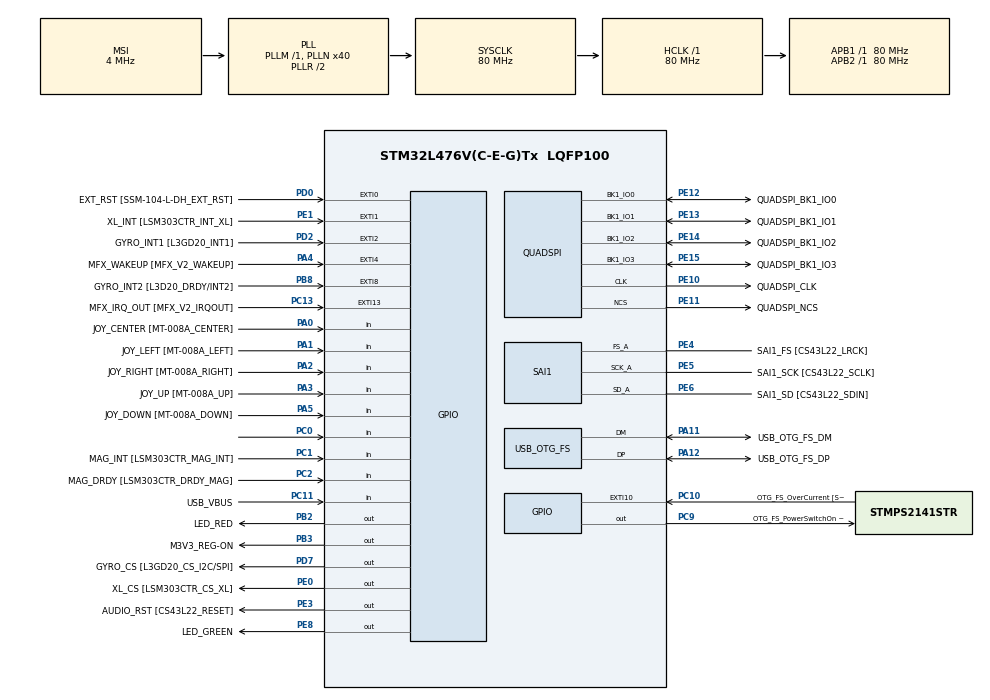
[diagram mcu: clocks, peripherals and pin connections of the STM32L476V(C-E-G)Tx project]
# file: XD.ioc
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Dma.Request0=SAI1_A
Dma.SAI1_A.0.Direction=DMA_MEMORY_TO_PERIPH
Dma.SAI1_A.0.Instance=DMA2_Channel1
Dma.SAI1_A.0.MemDataAlignment=DMA_MDATAALIGN_HALFWORD
Dma.SAI1_A.0.MemInc=DMA_MINC_ENABLE
Dma.SAI1_A.0.Mode=DMA_CIRCULAR
Dma.SAI1_A.0.PeriphDataAlignment=DMA_PDATAALIGN_HALFWORD
Dma.SAI1_A.0.PeriphInc=DMA_PINC_DISABLE
Dma.SAI1_A.0.Priority=DMA_PRIORITY_HIGH
Mcu.Family=STM32L4
Mcu.Name=STM32L476V(C-E-G)Tx
Mcu.Package=LQFP100
NVIC.DMA2_Channel1_IRQn=true\:0\:0\:false\:false\:true\:false\:true\:true
NVIC.OTG_FS_IRQn=true\:0\:0\:false\:false\:true\:false\:true\:true
NVIC.PriorityGroup=NVIC_PRIORITYGROUP_4
PA0.GPIO_Label=JOY_CENTER [MT-008A_CENTER]
PA0.GPIO_Mode=GPIO_MODE_INPUT
PA0.GPIO_PuPd=GPIO_PULLDOWN
PA0.Signal=GPIO_Input
PA1.GPIO_Label=JOY_LEFT [MT-008A_LEFT]
PA1.GPIO_Mode=GPIO_MODE_INPUT
PA1.GPIO_PuPd=GPIO_PULLDOWN
PA1.Signal=GPIO_Input
PA10.GPIO_Label=COM2 [GH08172T_COM2]
PA10.GPIO_Mode=GPIO_MODE_AF_PP
PA10.GPIO_PuPd=GPIO_NOPULL
PA10.GPIO_Speed=GPIO_SPEED_FREQ_LOW
PA10.Signal=LCD_COM2
PA11.GPIO_Label=USB_OTG_FS_DM
PA11.GPIO_Mode=GPIO_MODE_AF_PP
PA11.GPIO_PuPd=GPIO_NOPULL
PA11.GPIO_Speed=GPIO_SPEED_FREQ_VERY_HIGH
PA11.Mode=Device_Only
PA11.Signal=USB_OTG_FS_DM
PA12.GPIO_Label=USB_OTG_FS_DP
PA12.GPIO_Mode=GPIO_MODE_AF_PP
PA12.GPIO_PuPd=GPIO_NOPULL
PA12.GPIO_Speed=GPIO_SPEED_FREQ_VERY_HIGH
PA12.Mode=Device_Only
PA12.Signal=USB_OTG_FS_DP
PA13\ (JTMS-SWDIO).GPIO_Label=SYS_JTMS-SWDIO
PA13\ (JTMS-SWDIO).Mode=Serial_Wire
PA13\ (JTMS-SWDIO).Signal=SYS_JTMS-SWDIO
PA14\ (JTCK-SWCLK).GPIO_Label=SYS_JTCK-SWCLK
PA14\ (JTCK-SWCLK).Mode=Serial_Wire
PA14\ (JTCK-SWCLK).Signal=SYS_JTCK-SWCLK
PA15\ (JTDI).GPIO_Label=SEG10 [GH08172T_SEG10]
PA15\ (JTDI).GPIO_Mode=GPIO_MODE_AF_PP
PA15\ (JTDI).GPIO_PuPd=GPIO_NOPULL
PA15\ (JTDI).GPIO_Speed=GPIO_SPEED_FREQ_LOW
PA15\ (JTDI).Signal=LCD_SEG17
PA2.GPIO_Label=JOY_RIGHT [MT-008A_RIGHT]
PA2.GPIO_Mode=GPIO_MODE_INPUT
PA2.GPIO_PuPd=GPIO_PULLDOWN
PA2.Signal=GPIO_Input
PA3.GPIO_Label=JOY_UP [MT-008A_UP]
PA3.GPIO_Mode=GPIO_MODE_INPUT
PA3.GPIO_PuPd=GPIO_PULLDOWN
PA3.Signal=GPIO_Input
PA4.GPIO_Label=MFX_WAKEUP [MFX_V2_WAKEUP]
PA4.GPIO_ModeDefaultEXTI=GPIO_MODE_EVT_RISING
PA4.GPIO_PuPd=GPIO_NOPULL
PA4.Signal=GPXTI4
PA5.GPIO_Label=JOY_DOWN [MT-008A_DOWN]
PA5.GPIO_Mode=GPIO_MODE_INPUT
PA5.GPIO_PuPd=GPIO_PULLDOWN
PA5.Signal=GPIO_Input
PA6.GPIO_Label=SEG23 [GH08172T_SEG23]
PA6.GPIO_Mode=GPIO_MODE_AF_PP
PA6.GPIO_PuPd=GPIO_NOPULL
PA6.GPIO_Speed=GPIO_SPEED_FREQ_LOW
PA6.Signal=LCD_SEG3
PA7.GPIO_Label=SEG0 [GH08172T_SEG0]
PA7.GPIO_Mode=GPIO_MODE_AF_PP
PA7.GPIO_PuPd=GPIO_NOPULL
PA7.GPIO_Speed=GPIO_SPEED_FREQ_LOW
PA7.Signal=LCD_SEG4
PA8.GPIO_Label=COM0 [GH08172T_COM0]
PA8.GPIO_Mode=GPIO_MODE_AF_PP
PA8.GPIO_PuPd=GPIO_NOPULL
PA8.GPIO_Speed=GPIO_SPEED_FREQ_LOW
PA8.Signal=LCD_COM0
PA9.GPIO_Label=COM1 [GH08172T_COM1]
PA9.GPIO_Mode=GPIO_MODE_AF_PP
PA9.GPIO_PuPd=GPIO_NOPULL
PA9.GPIO_Speed=GPIO_SPEED_FREQ_LOW
PA9.Signal=LCD_COM1
PB0.GPIO_Label=SEG21 [GH08172T_SEG21]
PB0.GPIO_Mode=GPIO_MODE_AF_PP
PB0.GPIO_PuPd=GPIO_NOPULL
PB0.GPIO_Speed=GPIO_SPEED_FREQ_LOW
PB0.Signal=LCD_SEG5
PB1.GPIO_Label=SEG2 [GH08172T_SEG2]
PB1.GPIO_Mode=GPIO_MODE_AF_PP
PB1.GPIO_PuPd=GPIO_NOPULL
PB1.GPIO_Speed=GPIO_SPEED_FREQ_LOW
PB1.Signal=LCD_SEG6
PB10.GPIO_Label=MFX_I2C_SLC [MFX_V2_I2C_SCL]
PB10.GPIO_Mode=GPIO_MODE_AF_OD
PB10.GPIO_PuPdOD=GPIO_PULLUP
PB10.GPIO_Speed=GPIO_SPEED_FREQ_VERY_HIGH
PB10.Signal=I2C2_SCL
PB11.GPIO_Label=MFX_I2C_SDA [MFX_V2_I2C_SDA]
PB11.GPIO_Mode=GPIO_MODE_AF_OD
PB11.GPIO_PuPdOD=GPIO_PULLUP
PB11.GPIO_Speed=GPIO_SPEED_FREQ_VERY_HIGH
PB11.Signal=I2C2_SDA
PB12.GPIO_Label=SEG20 [GH08172T_SEG20]
PB12.GPIO_Mode=GPIO_MODE_AF_PP
PB12.GPIO_PuPd=GPIO_NOPULL
PB12.GPIO_Speed=GPIO_SPEED_FREQ_LOW
PB12.Signal=LCD_SEG12
PB13.GPIO_Label=SEG3 [GH08172T_SEG3]
PB13.GPIO_Mode=GPIO_MODE_AF_PP
PB13.GPIO_PuPd=GPIO_NOPULL
PB13.GPIO_Speed=GPIO_SPEED_FREQ_LOW
PB13.Signal=LCD_SEG13
PB14.GPIO_Label=SEG19 [GH08172T_SEG19]
PB14.GPIO_Mode=GPIO_MODE_AF_PP
PB14.GPIO_PuPd=GPIO_NOPULL
PB14.GPIO_Speed=GPIO_SPEED_FREQ_LOW
PB14.Signal=LCD_SEG14
PB15.GPIO_Label=SEG4 [GH08172T_SEG4]
PB15.GPIO_Mode=GPIO_MODE_AF_PP
PB15.GPIO_PuPd=GPIO_NOPULL
PB15.GPIO_Speed=GPIO_SPEED_FREQ_LOW
PB15.Signal=LCD_SEG15
PB2.GPIO_Label=LED_RED
PB2.GPIO_ModeDefaultOutputPP=GPIO_MODE_OUTPUT_PP
PB2.GPIO_PuPd=GPIO_PULLUP
PB2.GPIO_Speed=GPIO_SPEED_FREQ_VERY_HIGH
PB2.Signal=GPIO_Output
PB3\ (JTDO-TRACESWO).GPIO_Label=M3V3_REG-ON
PB3\ (JTDO-TRACESWO).GPIO_ModeDefaultOutputPP=GPIO_MODE_OUTPUT_PP
PB3\ (JTDO-TRACESWO).GPIO_PuPd=GPIO_NOPULL
PB3\ (JTDO-TRACESWO).GPIO_Speed=GPIO_SPEED_FREQ_LOW
PB3\ (JTDO-TRACESWO).Signal=GPIO_Output
PB4\ (NJTRST).GPIO_Label=SEG11 [GH08172T_SEG11]
PB4\ (NJTRST).GPIO_Mode=GPIO_MODE_AF_PP
PB4\ (NJTRST).GPIO_PuPd=GPIO_NOPULL
PB4\ (NJTRST).GPIO_Speed=GPIO_SPEED_FREQ_LOW
PB4\ (NJTRST).Signal=LCD_SEG8
PB5.GPIO_Label=SEG12 [GH08172T_SEG12]
PB5.GPIO_Mode=GPIO_MODE_AF_PP
PB5.GPIO_PuPd=GPIO_NOPULL
PB5.GPIO_Speed=GPIO_SPEED_FREQ_LOW
PB5.Signal=LCD_SEG9
PB6.GPIO_FM6=__NULL
PB6.GPIO_Label=I2C1_SCL [SSM-104-L-DH_SCL]
PB6.GPIO_Mode=GPIO_MODE_AF_OD
PB6.GPIO_PuPdOD=GPIO_PULLUP
PB6.GPIO_Speed=GPIO_SPEED_FREQ_VERY_HIGH
PB6.Signal=I2C1_SCL
PB7.GPIO_FM7=__NULL
PB7.GPIO_Label=I2C1_SDA [SSM-104-L-DH_SDA]
PB7.GPIO_Mode=GPIO_MODE_AF_OD
PB7.GPIO_PuPdOD=GPIO_PULLUP
PB7.GPIO_Speed=GPIO_SPEED_FREQ_VERY_HIGH
PB7.Signal=I2C1_SDA
PB8.GPIO_Label=GYRO_INT2 [L3D20_DRDY/INT2]
PB8.GPIO_ModeDefaultEXTI=GPIO_MODE_EVT_RISING
PB8.GPIO_PuPd=GPIO_NOPULL
PB8.Signal=GPXTI8
PB9.GPIO_FM9=__NULL
PB9.GPIO_Label=COM3 [GH08172T_COM3]
PB9.GPIO_Mode=GPIO_MODE_AF_PP
PB9.GPIO_PuPd=GPIO_NOPULL
PB9.GPIO_Speed=GPIO_SPEED_FREQ_LOW
PB9.Signal=LCD_COM3
PC0.Signal=GPIO_Input
PC1.GPIO_Label=MAG_INT [LSM303CTR_MAG_INT]
PC1.GPIO_Mode=GPIO_MODE_INPUT
PC1.GPIO_PuPd=GPIO_NOPULL
PC1.Signal=GPIO_Input
PC10.GPIO_Label=OTG_FS_OverCurrent [STMPS2141STR_FAULT]
PC10.GPIO_ModeDefaultEXTI=GPIO_MODE_EVT_RISING
PC10.GPIO_PuPd=GPIO_NOPULL
PC10.Signal=GPXTI10
PC11.GPIO_Label=USB_VBUS
PC11.Signal=GPIO_Input
PC13.GPIO_Label=MFX_IRQ_OUT [MFX_V2_IRQOUT]
PC13.GPIO_ModeDefaultEXTI=GPIO_MODE_EVT_RISING
PC13.GPIO_PuPd=GPIO_NOPULL
PC13.Signal=GPXTI13
PC14-OSC32_IN\ (PC14).Mode=LSE-External-Oscillator
PC14-OSC32_IN\ (PC14).Signal=RCC_OSC32_IN
PC15-OSC32_OUT\ (PC15).Mode=LSE-External-Oscillator
PC15-OSC32_OUT\ (PC15).Signal=RCC_OSC32_OUT
PC2.GPIO_Label=MAG_DRDY [LSM303CTR_DRDY_MAG]
PC2.GPIO_Mode=GPIO_MODE_INPUT
PC2.GPIO_PuPd=GPIO_NOPULL
PC2.Signal=GPIO_Input
PC3.GPIO_Label=VLCD
PC3.GPIO_Mode=GPIO_MODE_AF_PP
PC3.GPIO_PuPd=GPIO_NOPULL
PC3.GPIO_Speed=GPIO_SPEED_FREQ_LOW
PC3.Signal=LCD_VLCD
PC4.GPIO_Label=SEG22 [GH08172T_SEG22]
PC4.GPIO_Mode=GPIO_MODE_AF_PP
PC4.GPIO_PuPd=GPIO_NOPULL
PC4.GPIO_Speed=GPIO_SPEED_FREQ_LOW
PC4.Signal=LCD_SEG22
PC5.GPIO_Label=SEG1 [GH08172T_SEG1]
PC5.GPIO_Mode=GPIO_MODE_AF_PP
PC5.GPIO_PuPd=GPIO_NOPULL
PC5.GPIO_Speed=GPIO_SPEED_FREQ_LOW
PC5.Signal=LCD_SEG23
PC6.GPIO_Label=SEG14 [GH08172T_SEG14]
PC6.GPIO_Mode=GPIO_MODE_AF_PP
PC6.GPIO_PuPd=GPIO_NOPULL
PC6.GPIO_Speed=GPIO_SPEED_FREQ_LOW
PC6.Signal=LCD_SEG24
PC7.GPIO_Label=SEG9 [GH08172T_SEG9]
PC7.GPIO_Mode=GPIO_MODE_AF_PP
PC7.GPIO_PuPd=GPIO_NOPULL
PC7.GPIO_Speed=GPIO_SPEED_FREQ_LOW
PC7.Signal=LCD_SEG25
PC8.GPIO_Label=SEG13 [GH08172T_SEG13]
PC8.GPIO_Mode=GPIO_MODE_AF_PP
PC8.GPIO_PuPd=GPIO_NOPULL
PC8.GPIO_Speed=GPIO_SPEED_FREQ_LOW
PC8.Signal=LCD_SEG26
PC9.GPIO_Label=OTG_FS_PowerSwitchOn [STMPS2141STR_EN]
PC9.GPIO_ModeDefaultOutputPP=GPIO_MODE_OUTPUT_PP
PC9.GPIO_PuPd=GPIO_NOPULL
PC9.GPIO_Speed=GPIO_SPEED_FREQ_LOW
PC9.PinState=GPIO_PIN_SET
PC9.Signal=GPIO_Output
PD0.GPIO_Label=EXT_RST [SSM-104-L-DH_EXT_RST]
PD0.GPIO_ModeDefaultEXTI=GPIO_MODE_EVT_RISING
PD0.GPIO_PuPd=GPIO_NOPULL
PD0.Signal=GPXTI0
PD1.GPIO_Label=MEMS_SCK [L3GD20_SCL/SPC]
PD1.GPIO_Mode=GPIO_MODE_AF_PP
PD1.GPIO_PuPd=GPIO_NOPULL
PD1.GPIO_Speed=GPIO_SPEED_FREQ_VERY_HIGH
PD1.Signal=SPI2_SCK
PD10.GPIO_Label=SEG17 [GH08172T_SEG17]
PD10.GPIO_Mode=GPIO_MODE_AF_PP
PD10.GPIO_PuPd=GPIO_NOPULL
PD10.GPIO_Speed=GPIO_SPEED_FREQ_LOW
PD10.Signal=LCD_SEG30
PD11.GPIO_Label=SEG6 [GH08172T_SEG6]
PD11.GPIO_Mode=GPIO_MODE_AF_PP
PD11.GPIO_PuPd=GPIO_NOPULL
PD11.GPIO_Speed=GPIO_SPEED_FREQ_LOW
PD11.Signal=LCD_SEG31
PD12.GPIO_Label=SEG16 [GH08172T_SEG16]
PD12.GPIO_Mode=GPIO_MODE_AF_PP
PD12.GPIO_PuPd=GPIO_NOPULL
PD12.GPIO_Speed=GPIO_SPEED_FREQ_LOW
PD12.Signal=LCD_SEG32
PD13.GPIO_Label=SEG7 [GH08172T_SEG7]
PD13.GPIO_Mode=GPIO_MODE_AF_PP
PD13.GPIO_PuPd=GPIO_NOPULL
PD13.GPIO_Speed=GPIO_SPEED_FREQ_LOW
PD13.Signal=LCD_SEG33
PD14.GPIO_Label=SEG15 [GH08172T_SEG15]
PD14.GPIO_Mode=GPIO_MODE_AF_PP
PD14.GPIO_PuPd=GPIO_NOPULL
PD14.GPIO_Speed=GPIO_SPEED_FREQ_LOW
PD14.Signal=LCD_SEG34
PD15.GPIO_Label=SEG8 [GH08172T_SEG8]
PD15.GPIO_Mode=GPIO_MODE_AF_PP
PD15.GPIO_PuPd=GPIO_NOPULL
PD15.GPIO_Speed=GPIO_SPEED_FREQ_LOW
PD15.Signal=LCD_SEG35
PD2.GPIO_Label=GYRO_INT1 [L3GD20_INT1]
PD2.GPIO_ModeDefaultEXTI=GPIO_MODE_EVT_RISING
PD2.GPIO_PuPd=GPIO_NOPULL
PD2.Signal=GPXTI2
PD3.GPIO_Label=MEMS_MISO [L3GD20_SA0/SDO]
PD3.GPIO_Mode=GPIO_MODE_AF_PP
PD3.GPIO_PuPd=GPIO_NOPULL
PD3.GPIO_Speed=GPIO_SPEED_FREQ_VERY_HIGH
PD3.Signal=SPI2_MISO
PD4.GPIO_Label=MEMS_MOSI [L3GD20_SDA/SDI/SDO]
PD4.GPIO_Mode=GPIO_MODE_AF_PP
PD4.GPIO_PuPd=GPIO_NOPULL
PD4.GPIO_Speed=GPIO_SPEED_FREQ_VERY_HIGH
PD4.Signal=SPI2_MOSI
PD5.GPIO_Label=USART_TX
PD5.GPIO_Mode=GPIO_MODE_AF_PP
PD5.GPIO_PuPd=GPIO_PULLUP
PD5.GPIO_Speed=GPIO_SPEED_FREQ_VERY_HIGH
PD5.Signal=USART2_TX
PD6.GPIO_Label=USART_RX
PD6.GPIO_Mode=GPIO_MODE_AF_PP
PD6.GPIO_PuPd=GPIO_PULLUP
PD6.GPIO_Speed=GPIO_SPEED_FREQ_VERY_HIGH
PD6.Signal=USART2_RX
PD7.GPIO_Label=GYRO_CS [L3GD20_CS_I2C/SPI]
PD7.GPIO_ModeDefaultOutputPP=GPIO_MODE_OUTPUT_PP
PD7.GPIO_PuPd=GPIO_NOPULL
PD7.GPIO_Speed=GPIO_SPEED_FREQ_VERY_HIGH
PD7.Signal=GPIO_Output
PD8.GPIO_Label=SEG18 [GH08172T_SEG18]
PD8.GPIO_Mode=GPIO_MODE_AF_PP
PD8.GPIO_PuPd=GPIO_NOPULL
PD8.GPIO_Speed=GPIO_SPEED_FREQ_LOW
PD8.Signal=LCD_SEG28
PD9.GPIO_Label=SEG5 [GH08172T_SEG5]
PD9.GPIO_Mode=GPIO_MODE_AF_PP
PD9.GPIO_PuPd=GPIO_NOPULL
PD9.GPIO_Speed=GPIO_SPEED_FREQ_LOW
PD9.Signal=LCD_SEG29
PE0.GPIO_Label=XL_CS [LSM303CTR_CS_XL]
PE0.GPIO_ModeDefaultOutputPP=GPIO_MODE_OUTPUT_PP
PE0.GPIO_PuPd=GPIO_NOPULL
PE0.GPIO_Speed=GPIO_SPEED_FREQ_LOW
PE0.Signal=GPIO_Output
PE1.GPIO_Label=XL_INT [LSM303CTR_INT_XL]
PE1.GPIO_ModeDefaultEXTI=GPIO_MODE_EVT_RISING
PE1.GPIO_PuPd=GPIO_NOPULL
PE1.Signal=GPXTI1
PE10.GPIO_Label=QUADSPI_CLK
PE10.GPIO_Mode=GPIO_MODE_AF_PP
PE10.GPIO_PuPd=GPIO_NOPULL
PE10.GPIO_Speed=GPIO_SPEED_FREQ_VERY_HIGH
PE10.Mode=Single Bank
PE10.Signal=QUADSPI_CLK
PE11.GPIO_Label=QUADSPI_NCS
PE11.GPIO_Mode=GPIO_MODE_AF_PP
PE11.GPIO_PuPd=GPIO_NOPULL
PE11.GPIO_Speed=GPIO_SPEED_FREQ_VERY_HIGH
PE11.Mode=Single Bank
PE11.Signal=QUADSPI_NCS
PE12.GPIO_Label=QUADSPI_BK1_IO0
PE12.GPIO_Mode=GPIO_MODE_AF_PP
PE12.GPIO_PuPd=GPIO_NOPULL
PE12.GPIO_Speed=GPIO_SPEED_FREQ_VERY_HIGH
PE12.Mode=Single Bank
PE12.Signal=QUADSPI_BK1_IO0
PE13.GPIO_Label=QUADSPI_BK1_IO1
PE13.GPIO_Mode=GPIO_MODE_AF_PP
PE13.GPIO_PuPd=GPIO_NOPULL
PE13.GPIO_Speed=GPIO_SPEED_FREQ_VERY_HIGH
PE13.Mode=Single Bank
PE13.Signal=QUADSPI_BK1_IO1
PE14.GPIO_Label=QUADSPI_BK1_IO2
PE14.GPIO_Mode=GPIO_MODE_AF_PP
PE14.GPIO_PuPd=GPIO_NOPULL
PE14.GPIO_Speed=GPIO_SPEED_FREQ_VERY_HIGH
PE14.Mode=Single Bank
PE14.Signal=QUADSPI_BK1_IO2
PE15.GPIO_Label=QUADSPI_BK1_IO3
PE15.GPIO_Mode=GPIO_MODE_AF_PP
PE15.GPIO_PuPd=GPIO_NOPULL
PE15.GPIO_Speed=GPIO_SPEED_FREQ_VERY_HIGH
PE15.Mode=Single Bank
PE15.Signal=QUADSPI_BK1_IO3
PE2.GPIO_Label=SAI1_MCK [CS43L22_MCLK]
PE2.GPIO_Mode=GPIO_MODE_AF_PP
PE2.GPIO_PuPd=GPIO_NOPULL
PE2.GPIO_Speed=GPIO_SPEED_FREQ_VERY_HIGH
PE2.Signal=SAI1_MCLK_A
PE3.GPIO_Label=AUDIO_RST [CS43L22_RESET]
PE3.GPIO_ModeDefaultOutputPP=GPIO_MODE_OUTPUT_PP
PE3.GPIO_PuPd=GPIO_NOPULL
PE3.GPIO_Speed=GPIO_SPEED_FREQ_HIGH
PE3.Signal=GPIO_Output
PE4.GPIO_Label=SAI1_FS [CS43L22_LRCK]
PE4.GPIO_Mode=GPIO_MODE_AF_PP
PE4.GPIO_PuPd=GPIO_NOPULL
PE4.GPIO_Speed=GPIO_SPEED_FREQ_VERY_HIGH
PE4.Mode=SAI_A_Master
PE4.Signal=SAI1_FS_A
PE5.GPIO_Label=SAI1_SCK [CS43L22_SCLK]
PE5.GPIO_Mode=GPIO_MODE_AF_PP
PE5.GPIO_PuPd=GPIO_NOPULL
PE5.GPIO_Speed=GPIO_SPEED_FREQ_VERY_HIGH
PE5.Mode=SAI_A_Master
PE5.Signal=SAI1_SCK_A
PE6.GPIO_Label=SAI1_SD [CS43L22_SDIN]
PE6.GPIO_Mode=GPIO_MODE_AF_PP
PE6.GPIO_PuPd=GPIO_NOPULL
PE6.GPIO_Speed=GPIO_SPEED_FREQ_VERY_HIGH
PE6.Mode=SAI_A_Master
PE6.Signal=SAI1_SD_A
PE7.GPIO_Label=AUDIO_DIN [MP34DT01_DOUT]
PE7.GPIO_Mode=GPIO_MODE_AF_PP
PE7.GPIO_PuPd=GPIO_NOPULL
PE7.GPIO_Speed=GPIO_SPEED_FREQ_VERY_HIGH
PE7.Signal=SAI1_SD_B
PE8.GPIO_Label=LED_GREEN
PE8.GPIO_ModeDefaultOutputPP=GPIO_MODE_OUTPUT_PP
PE8.GPIO_PuPd=GPIO_PULLUP
PE8.GPIO_Speed=GPIO_SPEED_FREQ_VERY_HIGH
PE8.Signal=GPIO_Output
PE9.GPIO_Label=AUDIO_CLK [MP34DT01_CLK]
PE9.GPIO_Mode=GPIO_MODE_AF_PP
PE9.GPIO_PuPd=GPIO_NOPULL
PE9.GPIO_Speed=GPIO_SPEED_FREQ_LOW
PE9.Signal=SAI1_FS_B
PH0-OSC_IN\ (PH0).Signal=RCC_OSC_IN
PH1-OSC_OUT\ (PH1).Signal=RCC_OSC_OUT
ProjectManager.HeapSize=0x200
ProjectManager.StackSize=0x400
ProjectManager.TargetToolchain=STM32CubeIDE
QUADSPI.ClockPrescaler-Single\ Bank=0
QUADSPI.FifoThreshold-Single\ Bank=4
QUADSPI.FlashSize-Single\ Bank=0x17
RCC.ADCFreq_Value=48000000
RCC.AHBFreq_Value=80000000
RCC.APB1Freq_Value=80000000
RCC.APB1TimFreq_Value=80000000
RCC.APB2Freq_Value=80000000
RCC.APB2TimFreq_Value=80000000
RCC.CortexFreq_Value=80000000
RCC.HCLKFreq_Value=80000000
RCC.HSE_VALUE=8000000
RCC.HSI_VALUE=16000000
RCC.MSI_VALUE=4000000
RCC.PLLN=40
RCC.PLLQ=RCC_PLLQ_DIV4
RCC.PLLSAI1N=24
RCC.PLLSAI2N=48
RCC.PLLSAI2P=RCC_PLLP_DIV17
RCC.PREFETCH_ENABLE=1
RCC.SYSCLKFreq_VALUE=80000000
RCC.SYSCLKSource=RCC_SYSCLKSOURCE_PLLCLK
RCC.USBFreq_Value=48000000
RCC.VCOOutputFreq_Value=160000000
SAI1.ActiveFrameLength-SAI_A_Master=16
SAI1.AudioFrequency-SAI_A_Master=SAI_AUDIO_FREQUENCY_22K
SAI1.DataSize-SAI_A_Master=SAI_DATASIZE_16
SAI1.ErrorAudioFreq-SAI_A_Master=21.75 %
SAI1.FIFOThreshold-SAI_A_Master=SAI_FIFOTHRESHOLD_1QF
SAI1.FSDefinition-SAI_A_Master=SAI_FS_CHANNEL_IDENTIFICATION
SAI1.FSOffset-SAI_A_Master=SAI_FS_BEFOREFIRSTBIT
SAI1.FrameLength-SAI_A_Master=32
SAI1.Instance-SAI_A_Master=SAI$Index_Block_A
SAI1.MClockEnable-SAI_A_Master=SAI_MASTERCLOCK_DISABLE
SAI1.OutputDrive-SAI_A_Master=SAI_OUTPUTDRIVE_ENABLE
SAI1.RealAudioFreq-SAI_A_Master=26.785 KHz
SAI1.SlotActive-SAI_A_Master=0x00000003
SAI1.SlotNumber-SAI_A_Master=2
SAI1.TriState-SAI_A_Master=SAI_OUTPUT_NOTRELEASED
SAI1.VirtualMode-SAI_A_Master=VM_MASTER
SAI1.VirtualSlotActive-SAI_A_Master=SAI_SLOT_USERSETTING
SAI1.VirtualSlotActive0-SAI_A_Master=true
SAI1.VirtualSlotActive1-SAI_A_Master=true
USB_DEVICE.CLASS_NAME_FS=MSC
USB_DEVICE.MSC_MEDIA_PACKET=4096
USB_DEVICE.USBD_LPM_ENABLED=0
USB_DEVICE.VirtualMode=Msc
USB_DEVICE.VirtualModeFS=Msc_FS
USB_OTG_FS.VirtualMode=Device_Only
VP_USB_DEVICE_VS_USB_DEVICE_MSC_FS.Mode=MSC_FS
board=STM32L476G-DISCO

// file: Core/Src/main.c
/* USER CODE BEGIN Header */
/**
  ******************************************************************************
  * @file           : main.c
  * @brief          : Main program body
  ******************************************************************************
  * @attention
  *
  * Copyright (c) 2022 STMicroelectronics.
  * All rights reserved.
  *
  * This software is licensed under terms that can be found in the LICENSE file
  * in the root directory of this software component.
  * If no LICENSE file comes with this software, it is provided AS-IS.
  *
  ******************************************************************************
  */
/* USER CODE END Header */
#include "main.h"
#include "dma.h"
#include "quadspi.h"
#include "sai.h"
#include "usb_device.h"
#include "gpio.h"
#include "stm32l476g_discovery.h"
#include "cs43l22.h"

/* USER CODE BEGIN PD */
#define AUDIO_FILE_ADDRESS   0x08080000
#define AUDIO_FILE_SIZE      (180*1024)
#define PLAY_HEADER          0x2C
#define PLAY_BUFF_SIZE       4096
/* USER CODE END PD */

/* USER CODE BEGIN PV */
uint16_t                      PlayBuff[PLAY_BUFF_SIZE];
__IO int16_t                 UpdatePointer = -1;
extern AUDIO_DrvTypeDef            *audio_drv;
/* USER CODE END PV */

void SystemClock_Config(void);
void PeriphCommonClock_Config(void);

int main(void)
{
  /* USER CODE BEGIN 1 */
	uint32_t PlaybackPosition   = PLAY_BUFF_SIZE + PLAY_HEADER;
  /* USER CODE END 1 */

  /* MCU Configuration--------------------------------------------------------*/

  /* Reset of all peripherals, Initializes the Flash interface and the Systick. */
  HAL_Init();

  /* USER CODE BEGIN Init */
  BSP_LED_Init(LED5);

   /* Check if the buffer has been loaded in flash */
   if(*((uint64_t *)AUDIO_FILE_ADDRESS) != 0x017EFE2446464952 ) Error_Handler();
  /* USER CODE END Init */

  /* Configure the system clock */
  SystemClock_Config();

/* Configure the peripherals common clocks */
  PeriphCommonClock_Config();

  /* Initialize all configured peripherals */
  MX_GPIO_Init();
  MX_QUADSPI_Init();
  MX_DMA_Init();
  MX_SAI1_Init();
  MX_USB_DEVICE_Init();
  /* USER CODE BEGIN 2 */
  /* Initialize the data buffer */
    for(int i=0; i < PLAY_BUFF_SIZE; i+=2)
    {
      PlayBuff[i]=*((__IO uint16_t *)(AUDIO_FILE_ADDRESS + PLAY_HEADER + i));
    }

    /* Start the playback */
    if(0 != audio_drv->Play(AUDIO_I2C_ADDRESS, NULL, 0))
    {
      Error_Handler();
    }
    if(HAL_OK != HAL_SAI_Transmit_DMA(&hsai_BlockA1, (uint8_t *)PlayBuff, PLAY_BUFF_SIZE))
    {
      Error_Handler();
    }

    /* Start loopback */
    while(1)
    {
      BSP_LED_Toggle(LED5);

      /* Wait a callback event */
      while(UpdatePointer==-1);

      int position = UpdatePointer;
      UpdatePointer = -1;

      /* Update the first or the second part of the buffer */
      for(int i = 0; i < PLAY_BUFF_SIZE/2; i++)
      {
        PlayBuff[i+position] = *(uint16_t *)(AUDIO_FILE_ADDRESS + PlaybackPosition);
        PlaybackPosition+=2;
      }

      /* check the end of the file */
      if((PlaybackPosition+PLAY_BUFF_SIZE/2) > AUDIO_FILE_SIZE)
      {
        PlaybackPosition = PLAY_HEADER;
      }

      if(UpdatePointer != -1)
      {
        /* Buffer update time is too long compare to the data transfer time */
        Error_Handler();
      }
    }
  }

void SystemClock_Config(void)
{
  RCC_OscInitTypeDef RCC_OscInitStruct = {0};
  RCC_ClkInitTypeDef RCC_ClkInitStruct = {0};

  /** Configure the main internal regulator output voltage
  */
  if (HAL_PWREx_ControlVoltageScaling(PWR_REGULATOR_VOLTAGE_SCALE1) != HAL_OK)
  {
    Error_Handler();
  }

  /** Configure LSE Drive Capability
  */
  HAL_PWR_EnableBkUpAccess();
  __HAL_RCC_LSEDRIVE_CONFIG(RCC_LSEDRIVE_LOW);

  /** Initializes the RCC Oscillators according to the specified parameters
  * in the RCC_OscInitTypeDef structure.
  */
  RCC_OscInitStruct.OscillatorType = RCC_OSCILLATORTYPE_LSE|RCC_OSCILLATORTYPE_MSI;
  RCC_OscInitStruct.LSEState = RCC_LSE_ON;
  RCC_OscInitStruct.MSIState = RCC_MSI_ON;
  RCC_OscInitStruct.MSICalibrationValue = 0;
  RCC_OscInitStruct.MSIClockRange = RCC_MSIRANGE_6;
  RCC_OscInitStruct.PLL.PLLState = RCC_PLL_ON;
  RCC_OscInitStruct.PLL.PLLSource = RCC_PLLSOURCE_MSI;
  RCC_OscInitStruct.PLL.PLLM = 1;
  RCC_OscInitStruct.PLL.PLLN = 40;
  RCC_OscInitStruct.PLL.PLLP = RCC_PLLP_DIV7;
  RCC_OscInitStruct.PLL.PLLQ = RCC_PLLQ_DIV4;
  RCC_OscInitStruct.PLL.PLLR = RCC_PLLR_DIV2;
  if (HAL_RCC_OscConfig(&RCC_OscInitStruct) != HAL_OK)
  {
    Error_Handler();
  }

  /** Initializes the CPU, AHB and APB buses clocks
  */
  RCC_ClkInitStruct.ClockType = RCC_CLOCKTYPE_HCLK|RCC_CLOCKTYPE_SYSCLK
                              |RCC_CLOCKTYPE_PCLK1|RCC_CLOCKTYPE_PCLK2;
  RCC_ClkInitStruct.SYSCLKSource = RCC_SYSCLKSOURCE_PLLCLK;
  RCC_ClkInitStruct.AHBCLKDivider = RCC_SYSCLK_DIV1;
  RCC_ClkInitStruct.APB1CLKDivider = RCC_HCLK_DIV1;
  RCC_ClkInitStruct.APB2CLKDivider = RCC_HCLK_DIV1;

  if (HAL_RCC_ClockConfig(&RCC_ClkInitStruct, FLASH_LATENCY_4) != HAL_OK)
  {
    Error_Handler();
  }

  /** Enable MSI Auto calibration
  */
  HAL_RCCEx_EnableMSIPLLMode();
}

void PeriphCommonClock_Config(void)
{
  RCC_PeriphCLKInitTypeDef PeriphClkInit = {0};

  /** Initializes the peripherals clock
  */
  PeriphClkInit.PeriphClockSelection = RCC_PERIPHCLK_SAI1|RCC_PERIPHCLK_USB;
  PeriphClkInit.Sai1ClockSelection = RCC_SAI1CLKSOURCE_PLLSAI1;
  PeriphClkInit.UsbClockSelection = RCC_USBCLKSOURCE_PLLSAI1;
  PeriphClkInit.PLLSAI1.PLLSAI1Source = RCC_PLLSOURCE_MSI;
  PeriphClkInit.PLLSAI1.PLLSAI1M = 1;
  PeriphClkInit.PLLSAI1.PLLSAI1N = 24;
  PeriphClkInit.PLLSAI1.PLLSAI1P = RCC_PLLP_DIV7;
  PeriphClkInit.PLLSAI1.PLLSAI1Q = RCC_PLLQ_DIV2;
  PeriphClkInit.PLLSAI1.PLLSAI1R = RCC_PLLR_DIV2;
  PeriphClkInit.PLLSAI1.PLLSAI1ClockOut = RCC_PLLSAI1_SAI1CLK|RCC_PLLSAI1_48M2CLK;
  if (HAL_RCCEx_PeriphCLKConfig(&PeriphClkInit) != HAL_OK)
  {
    Error_Handler();
  }
}

/* USER CODE BEGIN 4 */
/**
  * @brief Tx Transfer completed callbacks.
  * @param  hsai : pointer to a SAI_HandleTypeDef structure that contains
  *                the configuration information for SAI module.
  * @retval None
  */
void HAL_SAI_TxCpltCallback(SAI_HandleTypeDef *hsai)
{
  /* NOTE : This function Should not be modified, when the callback is needed,
            the HAL_SAI_TxCpltCallback could be implemented in the user file
   */
  UpdatePointer = PLAY_BUFF_SIZE/2;
}

/**
  * @brief Tx Transfer Half completed callbacks
  * @param  hsai : pointer to a SAI_HandleTypeDef structure that contains
  *                the configuration information for SAI module.
  * @retval None
  */
void HAL_SAI_TxHalfCpltCallback(SAI_HandleTypeDef *hsai)
{
  /* NOTE : This function Should not be modified, when the callback is needed,
            the HAL_SAI_TxHalfCpltCallback could be implenetd in the user file
   */
  UpdatePointer = 0;
}
/* USER CODE END 4 */

void Error_Handler(void)
{
  /* USER CODE BEGIN Error_Handler_Debug */
  /* User can add his own implementation to report the HAL error return state */
  __disable_irq();
  BSP_LED_On(LED5);
  while (1)
  {
  }
  /* USER CODE END Error_Handler_Debug */
}
